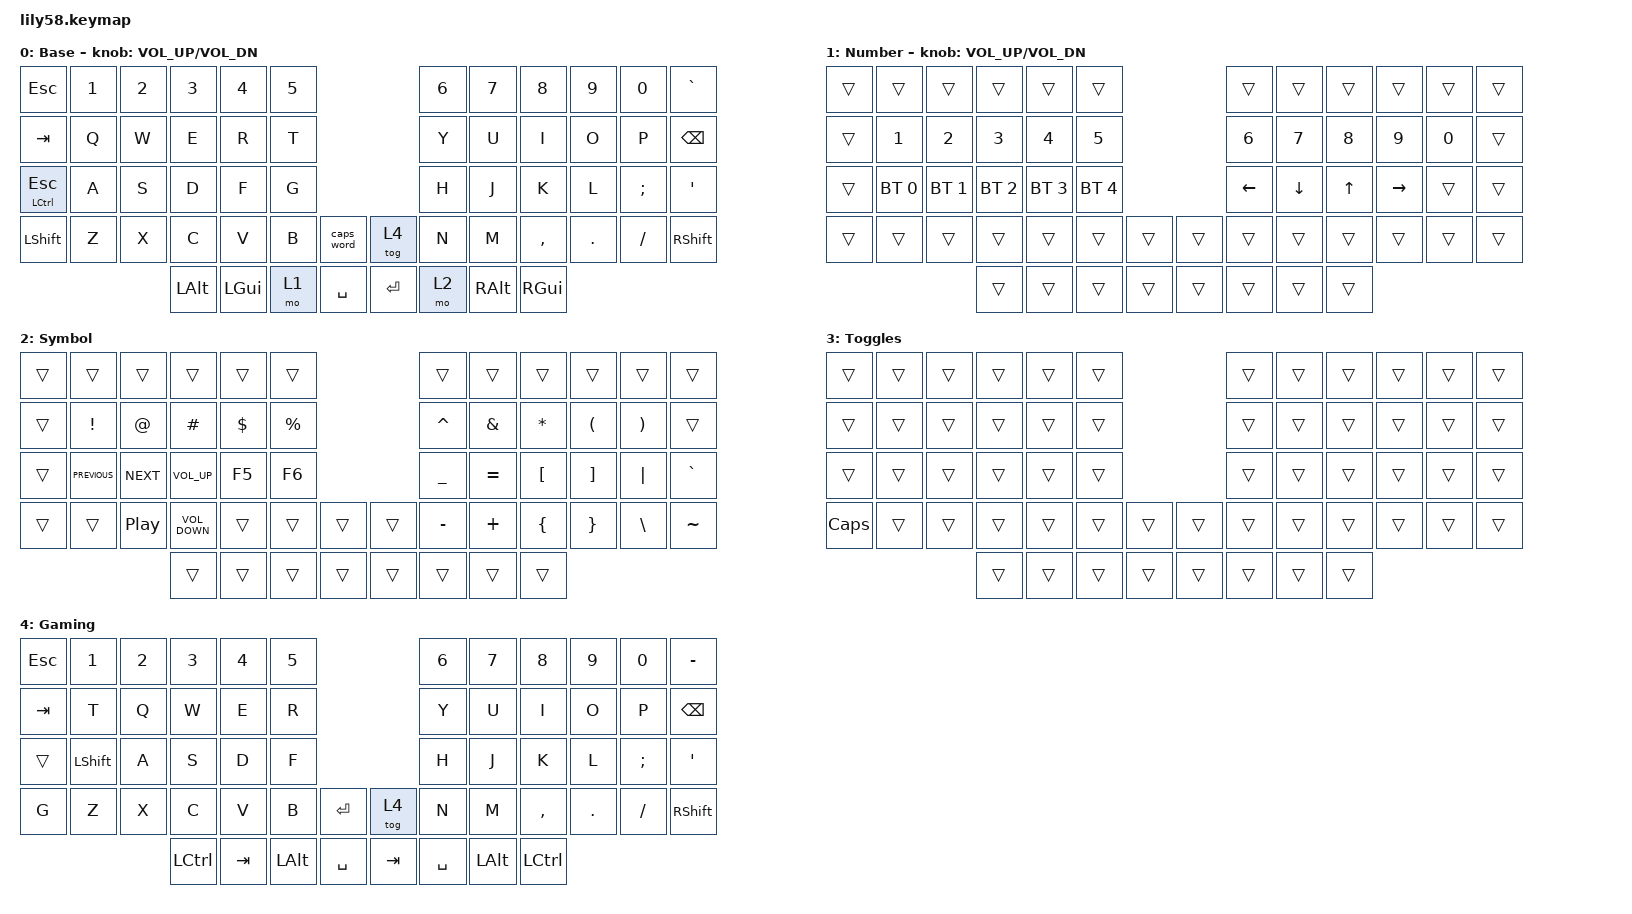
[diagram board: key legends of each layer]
/*
 * Copyright (c) 2020 The ZMK Contributors
 *
 * SPDX-License-Identifier: MIT
 */

#include <behaviors.dtsi>
#include <dt-bindings/zmk/bt.h>
#include <dt-bindings/zmk/keys.h>

/ {
    keymap {
        compatible = "zmk,keymap";

        default_layer {
            // ------------------------------------------------------------------------------------------------------------
            // |  ESC  |  1  |  2  |  3   |  4   |  5   |                   |  6   |  7    |  8    |  9   |   0   |   `   |
            // |  TAB  |  Q  |  W  |  E   |  R   |  T   |                   |  Y   |  U    |  I    |  O   |   P   |   -   |
            // |  CTRL |  A  |  S  |  D   |  F   |  G   |                   |  H   |  J    |  K    |  L   |   ;   |   '   |
            // | SHIFT |  Z  |  X  |  C   |  V   |  B   |   "["  |  |  "]"  |  N   |  M    |  ,    |  .   |   /   | SHIFT |
            //                     | ALT  | GUI  | LOWER|  SPACE |  | ENTER | RAISE| BSPC  | GUI   |

            display-name = "Base";
            bindings = <
&kp ESC           &kp N1  &kp N2  &kp N3    &kp N4    &kp N5                         &kp N6  &kp N7         &kp N8     &kp N9   &kp N0    &kp GRAVE
&kp TAB           &kp Q   &kp W   &kp E     &kp R     &kp T                          &kp Y   &kp U          &kp I      &kp O    &kp P     &kp BACKSPACE
&mt LCTRL ESCAPE  &kp A   &kp S   &kp D     &kp F     &kp G                          &kp H   &kp J          &kp K      &kp L    &kp SEMI  &kp SQT
&kp LSHFT         &kp Z   &kp X   &kp C     &kp V     &kp B   &caps_word    &tog 4   &kp N   &kp M          &kp COMMA  &kp DOT  &kp FSLH  &kp RSHFT
                                  &kp LALT  &kp LGUI  &mo 1   &kp SPACE     &kp RET  &mo 2   &kp RIGHT_ALT  &kp RGUI
            >;

            sensor-bindings = <&inc_dec_kp C_VOL_UP C_VOL_DN>;
        };

        lower_layer {
            // ------------------------------------------------------------------------------------------------------------
            // | BTCLR | BT1 | BT2 |  BT3 |  BT4 |  BT5 |                   |      |       |       |      |       |       |
            // |  F1   |  F2 |  F3 |  F4  |  F5  |  F6  |                   |  F7  |  F8   |  F9   |  F10 |  F11  |  F12  |
            // |   `   |  !  |  @  |  #   |  $   |  %   |                   |  ^   |  &    |  *    |  (   |   )   |   ~   |
            // |       |     |     |      |      |      |        |  |       |      |  _    |  +    |  {   |   }   |  "|"  |
            //                     |      |      |      |        |  |       |      |       |       |

            display-name = "Number";
            bindings = <
&trans  &trans        &trans        &trans        &trans        &trans                          &trans          &trans          &trans        &trans           &trans        &trans
&trans  &kp NUMBER_1  &kp NUMBER_2  &kp NUMBER_3  &kp NUMBER_4  &kp NUMBER_5                    &kp NUMBER_6    &kp NUMBER_7    &kp NUMBER_8  &kp NUMBER_9     &kp NUMBER_0  &trans
&trans  &bt BT_SEL 0  &bt BT_SEL 1  &bt BT_SEL 2  &bt BT_SEL 3  &bt BT_SEL 4                    &kp LEFT_ARROW  &kp DOWN_ARROW  &kp UP_ARROW  &kp RIGHT_ARROW  &trans        &trans
&trans  &trans        &trans        &trans        &trans        &trans        &trans    &trans  &trans          &trans          &trans        &trans           &trans        &trans
                                    &trans        &trans        &trans        &trans    &trans  &trans          &trans          &trans
            >;

            sensor-bindings = <&inc_dec_kp C_VOL_UP C_VOL_DN>;
        };

        raise_layer {
            // ------------------------------------------------------------------------------------------------------------
            // |       |     |     |      |      |      |                   |      |       |       |      |       |       |
            // |   `   |  1  |  2  |  3   |  4   |  5   |                   |  6   |   7   |   8   |  9   |   0   |       |
            // |   F1  |  F2 |  F3 |  F4  |  F5  |  F6  |                   |      |   <-  |   v   |  ^   |  ->   |       |
            // |   F7  |  F8 |  F9 |  F10 |  F11 |  F12 |        |  |       |  +   |   -   |   =   |  [   |   ]   |   \   |
            //                     |      |      |      |        |  |       |      |       |       |

            display-name = "Symbol";
            bindings = <
&trans  &trans           &trans            &trans             &trans      &trans                         &trans     &trans         &trans            &trans                &trans                 &trans
&trans  &kp EXCLAMATION  &kp AT_SIGN       &kp HASH           &kp DOLLAR  &kp PERCENT                    &kp CARET  &kp AMPERSAND  &kp ASTERISK      &kp LEFT_PARENTHESIS  &kp RIGHT_PARENTHESIS  &trans
&trans  &kp C_PREVIOUS   &kp C_NEXT        &kp C_VOLUME_UP    &kp F5      &kp F6                         &kp UNDER  &kp EQUAL      &kp LEFT_BRACKET  &kp RIGHT_BRACKET     &kp PIPE               &kp GRAVE
&trans  &trans           &kp C_PLAY_PAUSE  &kp C_VOLUME_DOWN  &trans      &trans       &trans    &trans  &kp MINUS  &kp PLUS       &kp LEFT_BRACE    &kp RIGHT_BRACE       &kp BACKSLASH          &kp TILDE
                                           &trans             &trans      &trans       &trans    &trans  &trans     &trans         &trans
            >;
        };

        layer_3 {
            bindings = <
&trans    &trans  &trans  &trans  &trans  &trans                    &trans  &trans  &trans  &trans  &trans  &trans
&trans    &trans  &trans  &trans  &trans  &trans                    &trans  &trans  &trans  &trans  &trans  &trans
&trans    &trans  &trans  &trans  &trans  &trans                    &trans  &trans  &trans  &trans  &trans  &trans
&kp CAPS  &trans  &trans  &trans  &trans  &trans  &trans    &trans  &trans  &trans  &trans  &trans  &trans  &trans
                          &trans  &trans  &trans  &trans    &trans  &trans  &trans  &trans
            >;

            label = "Toggles";
        };

        layer_4 {
            bindings = <
&kp ESC  &kp N1          &kp N2  &kp N3     &kp N4   &kp N5                              &kp N6     &kp N7    &kp N8     &kp N9   &kp N0    &kp MINUS
&kp TAB  &kp T           &kp Q   &kp W      &kp E    &kp R                               &kp Y      &kp U     &kp I      &kp O    &kp P     &kp BSPC
&trans   &kp LEFT_SHIFT  &kp A   &kp S      &kp D    &kp F                               &kp H      &kp J     &kp K      &kp L    &kp SEMI  &kp APOS
&kp G    &kp Z           &kp X   &kp C      &kp V    &kp B         &kp ENTER    &tog 4   &kp N      &kp M     &kp COMMA  &kp DOT  &kp FSLH  &kp RSHFT
                                 &kp LCTRL  &kp TAB  &kp LEFT_ALT  &kp SPACE    &kp TAB  &kp SPACE  &kp LALT  &kp LCTRL
            >;

            label = "Gaming";
        };
    };
};
